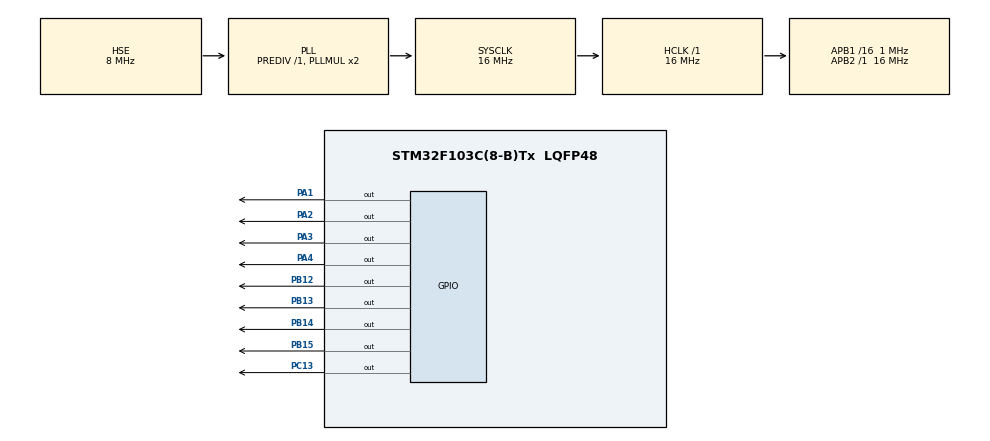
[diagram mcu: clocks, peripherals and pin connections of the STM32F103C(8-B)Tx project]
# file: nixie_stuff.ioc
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Mcu.Family=STM32F1
Mcu.Name=STM32F103C(8-B)Tx
Mcu.Package=LQFP48
NVIC.PriorityGroup=NVIC_PRIORITYGROUP_4
NVIC.TIM1_UP_IRQn=true\:0\:0\:false\:false\:true\:true\:true
PA1.GPIO_ModeDefaultOutputPP=GPIO_MODE_OUTPUT_OD
PA1.PinState=GPIO_PIN_RESET
PA1.Signal=GPIO_Output
PA13.Mode=Serial_Wire
PA13.Signal=SYS_JTMS-SWDIO
PA14.Mode=Serial_Wire
PA14.Signal=SYS_JTCK-SWCLK
PA2.GPIO_ModeDefaultOutputPP=GPIO_MODE_OUTPUT_OD
PA2.PinState=GPIO_PIN_RESET
PA2.Signal=GPIO_Output
PA3.GPIO_ModeDefaultOutputPP=GPIO_MODE_OUTPUT_OD
PA3.PinState=GPIO_PIN_RESET
PA3.Signal=GPIO_Output
PA4.GPIO_ModeDefaultOutputPP=GPIO_MODE_OUTPUT_OD
PA4.PinState=GPIO_PIN_RESET
PA4.Signal=GPIO_Output
PB12.Signal=GPIO_Output
PB13.Signal=GPIO_Output
PB14.Signal=GPIO_Output
PB15.Signal=GPIO_Output
PC13-TAMPER-RTC.Signal=GPIO_Output
PD0-OSC_IN.Mode=HSE-External-Oscillator
PD0-OSC_IN.Signal=RCC_OSC_IN
PD1-OSC_OUT.Mode=HSE-External-Oscillator
PD1-OSC_OUT.Signal=RCC_OSC_OUT
ProjectManager.HeapSize=0x200
ProjectManager.StackSize=0x400
ProjectManager.TargetToolchain=STM32CubeIDE
RCC.AHBFreq_Value=16000000
RCC.APB1CLKDivider=RCC_HCLK_DIV16
RCC.APB1Freq_Value=1000000
RCC.APB1TimFreq_Value=2000000
RCC.APB2Freq_Value=16000000
RCC.APB2TimFreq_Value=16000000
RCC.HCLKFreq_Value=16000000
RCC.PLLSourceVirtual=RCC_PLLSOURCE_HSE
RCC.SYSCLKFreq_VALUE=16000000
RCC.SYSCLKSource=RCC_SYSCLKSOURCE_PLLCLK
RCC.USBFreq_Value=16000000
TIM1.Period=9301
TIM1.Prescaler=0
VP_TIM1_VS_ClockSourceINT.Mode=Internal
board=custom

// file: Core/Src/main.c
/* USER CODE BEGIN Header */
/**
 ******************************************************************************
 * @file           : main.c
 * @brief          : Main program body
 ******************************************************************************
 * @attention
 *
 * <h2><center>&copy; Copyright (c) 2020 STMicroelectronics.
 * All rights reserved.</center></h2>
 *
 * This software component is licensed by ST under BSD 3-Clause license,
 * the "License"; You may not use this file except in compliance with the
 * License. You may obtain a copy of the License at:
 *                        opensource.org/licenses/BSD-3-Clause
 *
 ******************************************************************************
 */
/* USER CODE END Header */

#include "main.h"

/* USER CODE BEGIN Includes */
#include "dwt_delay.h"
/* USER CODE END Includes */

TIM_HandleTypeDef htim1;

/* USER CODE BEGIN PV */
uint8_t prevDigits[] = {9, 9, 9, 9};
uint8_t curDigits[4];
uint8_t update = 0;
/* USER CODE END PV */

void SystemClock_Config(void);
static void MX_GPIO_Init(void);
static void MX_TIM1_Init(void);

int main(void)
{

  /* MCU Configuration--------------------------------------------------------*/

  /* Reset of all peripherals, Initializes the Flash interface and the Systick. */
  HAL_Init();

  /* Configure the system clock */
  SystemClock_Config();

  /* Initialize all configured peripherals */
  MX_GPIO_Init();
  MX_TIM1_Init();
  /* USER CODE BEGIN 2 */
  DWT_Init();

  HAL_TIM_Base_Start_IT(&htim1);
  /* USER CODE END 2 */

  /* Infinite loop */
  /* USER CODE BEGIN WHILE */
  uint16_t curValue = 0;
  uint16_t curPos = 0;
  while (1)
  {
    curDigits[3] = curValue % 10;
    curDigits[2] = (curValue / 10) % 10;
    curDigits[1] = (curValue / 100) % 10;
    curDigits[0] = (curValue / 1000) % 10;

    for (uint8_t i = 0; i < 4; ++i)
    {
      switch(curPos)
      {
        case 0:
	  HAL_GPIO_WritePin(GPIOB, GPIO_PIN_12, GPIO_PIN_SET);
	  Flip_Change(curDigits[0], prevDigits[0]);
	  break;
	case 1:
	  HAL_GPIO_WritePin(GPIOB, GPIO_PIN_12, GPIO_PIN_SET);
	  Flip_Change(curDigits[1], prevDigits[1]);
	  break;
	case 2:
	  HAL_GPIO_WritePin(GPIOB, GPIO_PIN_12, GPIO_PIN_SET);
	  Flip_Change(curDigits[2], prevDigits[2]);
	  break;
	case 3:
	  HAL_GPIO_WritePin(GPIOB, GPIO_PIN_12, GPIO_PIN_SET);
	  Flip_Change(curDigits[3], prevDigits[3]);
	  break;
      }
    }

    ++curValue;
    curValue %= 9999;

    prevDigits[0] = curDigits[0];
    prevDigits[1] = curDigits[1];
    prevDigits[2] = curDigits[2];
    prevDigits[3] = curDigits[3];

    HAL_GPIO_TogglePin(GPIOC, GPIO_PIN_13);
    HAL_Delay(1000);

    /* USER CODE END WHILE */

  }
}

void SystemClock_Config(void)
{
  RCC_OscInitTypeDef RCC_OscInitStruct = {0};
  RCC_ClkInitTypeDef RCC_ClkInitStruct = {0};

  /** Initializes the CPU, AHB and APB busses clocks
  */
  RCC_OscInitStruct.OscillatorType = RCC_OSCILLATORTYPE_HSE;
  RCC_OscInitStruct.HSEState = RCC_HSE_ON;
  RCC_OscInitStruct.HSEPredivValue = RCC_HSE_PREDIV_DIV1;
  RCC_OscInitStruct.HSIState = RCC_HSI_ON;
  RCC_OscInitStruct.PLL.PLLState = RCC_PLL_ON;
  RCC_OscInitStruct.PLL.PLLSource = RCC_PLLSOURCE_HSE;
  RCC_OscInitStruct.PLL.PLLMUL = RCC_PLL_MUL2;
  if (HAL_RCC_OscConfig(&RCC_OscInitStruct) != HAL_OK)
  {
    Error_Handler();
  }
  /** Initializes the CPU, AHB and APB busses clocks
  */
  RCC_ClkInitStruct.ClockType = RCC_CLOCKTYPE_HCLK|RCC_CLOCKTYPE_SYSCLK
                              |RCC_CLOCKTYPE_PCLK1|RCC_CLOCKTYPE_PCLK2;
  RCC_ClkInitStruct.SYSCLKSource = RCC_SYSCLKSOURCE_PLLCLK;
  RCC_ClkInitStruct.AHBCLKDivider = RCC_SYSCLK_DIV1;
  RCC_ClkInitStruct.APB1CLKDivider = RCC_HCLK_DIV16;
  RCC_ClkInitStruct.APB2CLKDivider = RCC_HCLK_DIV1;

  if (HAL_RCC_ClockConfig(&RCC_ClkInitStruct, FLASH_LATENCY_0) != HAL_OK)
  {
    Error_Handler();
  }
}

static void MX_TIM1_Init(void)
{

  TIM_ClockConfigTypeDef sClockSourceConfig = {0};
  TIM_MasterConfigTypeDef sMasterConfig = {0};

  htim1.Instance = TIM1;
  htim1.Init.Prescaler = 0;
  htim1.Init.CounterMode = TIM_COUNTERMODE_UP;
  htim1.Init.Period = 9301;
  htim1.Init.ClockDivision = TIM_CLOCKDIVISION_DIV1;
  htim1.Init.RepetitionCounter = 0;
  htim1.Init.AutoReloadPreload = TIM_AUTORELOAD_PRELOAD_DISABLE;
  if (HAL_TIM_Base_Init(&htim1) != HAL_OK)
  {
    Error_Handler();
  }
  sClockSourceConfig.ClockSource = TIM_CLOCKSOURCE_INTERNAL;
  if (HAL_TIM_ConfigClockSource(&htim1, &sClockSourceConfig) != HAL_OK)
  {
    Error_Handler();
  }
  sMasterConfig.MasterOutputTrigger = TIM_TRGO_RESET;
  sMasterConfig.MasterSlaveMode = TIM_MASTERSLAVEMODE_DISABLE;
  if (HAL_TIMEx_MasterConfigSynchronization(&htim1, &sMasterConfig) != HAL_OK)
  {
    Error_Handler();
  }

}

static void MX_GPIO_Init(void)
{
  GPIO_InitTypeDef GPIO_InitStruct = {0};

  /* GPIO Ports Clock Enable */
  __HAL_RCC_GPIOC_CLK_ENABLE();
  __HAL_RCC_GPIOD_CLK_ENABLE();
  __HAL_RCC_GPIOA_CLK_ENABLE();
  __HAL_RCC_GPIOB_CLK_ENABLE();

  /*Configure GPIO pin Output Level */
  HAL_GPIO_WritePin(GPIOC, GPIO_PIN_13, GPIO_PIN_RESET);

  /*Configure GPIO pin Output Level */
  HAL_GPIO_WritePin(GPIOA, GPIO_PIN_1|GPIO_PIN_2|GPIO_PIN_3|GPIO_PIN_4, GPIO_PIN_RESET);

  /*Configure GPIO pin Output Level */
  HAL_GPIO_WritePin(GPIOB, GPIO_PIN_12|GPIO_PIN_13|GPIO_PIN_14|GPIO_PIN_15, GPIO_PIN_RESET);

  /*Configure GPIO pin : PC13 */
  GPIO_InitStruct.Pin = GPIO_PIN_13;
  GPIO_InitStruct.Mode = GPIO_MODE_OUTPUT_PP;
  GPIO_InitStruct.Pull = GPIO_NOPULL;
  GPIO_InitStruct.Speed = GPIO_SPEED_FREQ_LOW;
  HAL_GPIO_Init(GPIOC, &GPIO_InitStruct);

  /*Configure GPIO pins : PA1 PA2 PA3 PA4 */
  GPIO_InitStruct.Pin = GPIO_PIN_1|GPIO_PIN_2|GPIO_PIN_3|GPIO_PIN_4;
  GPIO_InitStruct.Mode = GPIO_MODE_OUTPUT_OD;
  GPIO_InitStruct.Pull = GPIO_NOPULL;
  GPIO_InitStruct.Speed = GPIO_SPEED_FREQ_LOW;
  HAL_GPIO_Init(GPIOA, &GPIO_InitStruct);

  /*Configure GPIO pins : PB12 PB13 PB14 PB15 */
  GPIO_InitStruct.Pin = GPIO_PIN_12|GPIO_PIN_13|GPIO_PIN_14|GPIO_PIN_15;
  GPIO_InitStruct.Mode = GPIO_MODE_OUTPUT_PP;
  GPIO_InitStruct.Pull = GPIO_NOPULL;
  GPIO_InitStruct.Speed = GPIO_SPEED_FREQ_LOW;
  HAL_GPIO_Init(GPIOB, &GPIO_InitStruct);

}

/* USER CODE BEGIN 4 */
void Set_Digit(uint8_t digit)
{
  HAL_GPIO_WritePin(GPIOA, GPIO_PIN_1, (digit & 0x01));
  HAL_GPIO_WritePin(GPIOA, GPIO_PIN_2, (digit & 0x01 << 1));
  HAL_GPIO_WritePin(GPIOA, GPIO_PIN_3, (digit & 0x01 << 2));
  HAL_GPIO_WritePin(GPIOA, GPIO_PIN_4, (digit & 0x01 << 3));
}

void Flip_Change(uint8_t old, uint8_t new)
{
  for(uint8_t i = old; i <= old + 10; ++i)
  {
    Set_Digit(i % 10);
    DWT_Delay(1000);
  }
  Set_Digit(new);
}
/* USER CODE END 4 */

void Error_Handler(void)
{
}

/************************ (C) COPYRIGHT STMicroelectronics *****END OF FILE****/
